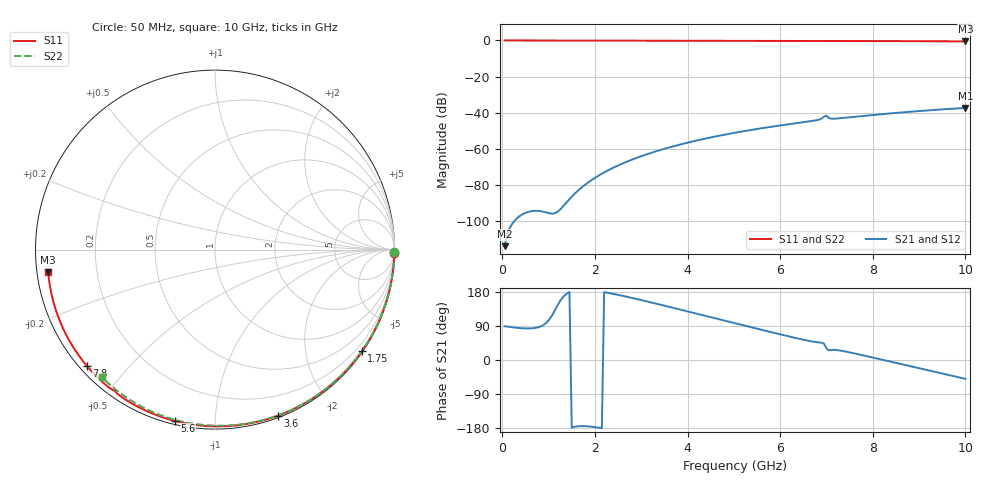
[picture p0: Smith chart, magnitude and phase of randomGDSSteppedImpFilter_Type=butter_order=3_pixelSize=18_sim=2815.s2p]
! freq	dB(S11)	phase(S11)	dB(S12)	phase(S12)
!  dB(S21)	phase(S21)	dB(S22)	phase(S22)
!S-par simulation data
#  GHz  S  DB  R 50
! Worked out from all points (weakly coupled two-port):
!   200 points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, 50 MHz to 10 GHz, reference 50 ohm
!   highest |S21| = -37.30 dB at 10 GHz (marker M1); lowest = -113.8 dB at 50 MHz (marker M2)
!   lowest |S11| = -0.6 dB at 10 GHz (marker M3), VSWR 31.07, Z = 1.62 - j3.33 ohm
!   |S11| at or under -10 dB: nowhere
!   |S22| runs from -0.4 to 0.0 dB; largest |S21 - S12| = 0
!   S11 on the Smith chart (normalised r, x): 50 MHz: open; 1.75 GHz: 0.03, -3.20; 3.6 GHz: 0.02, -1.45; 5.6 GHz: 0.02, -0.79; 7.8 GHz: 0.02, -0.39; 10 GHz: 0.03, -0.07
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0.05  -0.00 -1.0  -113.77 89.1  -113.77 89.1  -0.00 -0.8
0.85  -0.02 -17.1  -94.52 89.8  -94.52 89.8  -0.02 -12.8
1.75  -0.04 -34.7  -80.56 -174.4  -80.56 -174.4  -0.03 -26.2
1.8  -0.05 -35.7  -79.56 -174.6  -79.56 -174.6  -0.03 -26.9
2.15  -0.05 -42.4  -73.70 -179.8  -73.70 -179.8  -0.04 -32.1
2.5  -0.06 -49.0  -69.15 172.0  -69.15 172.0  -0.05 -37.1
2.9  -0.07 -56.5  -64.95 161.0  -64.95 161.0  -0.06 -42.8
3.4  -0.09 -65.6  -60.68 146.4  -60.68 146.4  -0.07 -49.9
3.6  -0.09 -69.2  -59.20 140.4  -59.20 140.4  -0.07 -52.7
4.3  -0.12 -81.5  -54.74 119.1  -54.74 119.1  -0.09 -62.3
5.05  -0.14 -94.2  -50.92 96.2  -50.92 96.2  -0.11 -72.2
5.6  -0.17 -103.2  -48.55 79.6  -48.55 79.6  -0.13 -79.3
6.7  -0.24 -120.8  -44.50 48.6  -44.50 48.6  -0.18 -93.1
6.85  -0.25 -123.3  -43.69 46.2  -43.69 46.2  -0.19 -94.9
6.95  -0.29 -124.9  -42.07 42.8  -42.07 42.8  -0.20 -96.1
7  -0.32 -125.4  -41.64 30.4  -41.64 30.4  -0.19 -96.7
7.05  -0.29 -126.0  -42.78 25.8  -42.78 25.8  -0.20 -97.3
7.15  -0.27 -127.7  -43.29 26.8  -43.29 26.8  -0.20 -98.5
7.8  -0.32 -137.8  -41.70 12.1  -41.70 12.1  -0.25 -106.3
8.35  -0.37 -146.3  -40.40 -3.5  -40.40 -3.5  -0.29 -112.7
9.2  -0.46 -159.6  -38.66 -27.5  -38.66 -27.5  -0.36 -122.4
10  -0.56 -172.4  -37.30 -49.7  -37.30 -49.7  -0.44 -131.5
